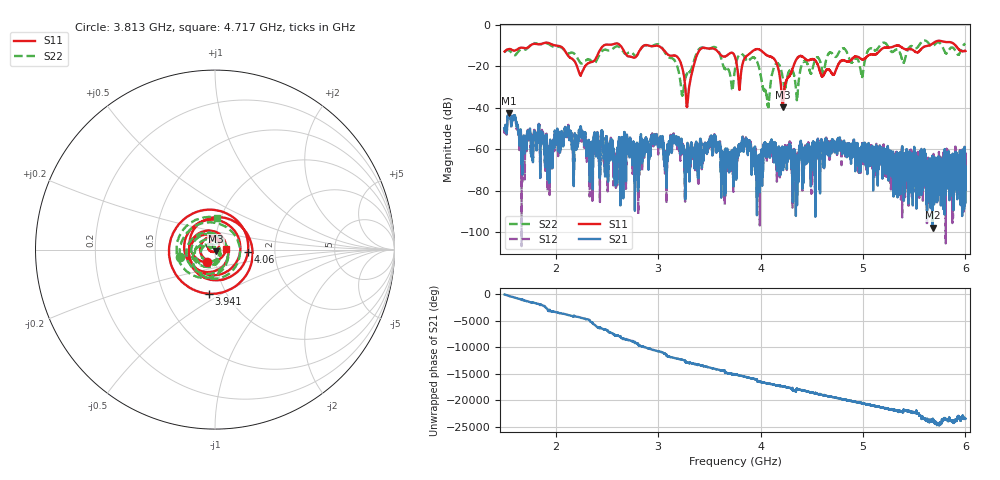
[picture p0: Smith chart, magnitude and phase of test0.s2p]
!Keysight Technologies N9923A: A.08.15
!Date: Monday, 19 February 2024 16:25:39
!Timezone: (GMT-05:00) Eastern Time (US & Canada)
!Model: N9923A
!Serial: MY52412730
!GPS Latitude:
!GPS Longitude:
!GPS TimeStamp: 0001-01-01 00:00:00Z
!GPS Seconds Since Last Read: 0
!CHECKSUM:1044931174
!Correction: S11(ON Q)S21(ON Q)S12(ON Q)S22(ON Q)
!S2P File: Measurements:S11,S21,S12,S22:
# Hz S DB R 50
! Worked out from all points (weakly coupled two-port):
!   10001 points, 1.5 GHz to 6 GHz, reference 50 ohm
!   highest |S21| = -42.74 dB at 1.545 GHz (marker M1); lowest = -97.9 dB at 5.679 GHz (marker M2)
!   lowest |S11| = -39.8 dB at 4.215 GHz (marker M3), VSWR 1.02, Z = 50.5 - j0.871 ohm
!   |S11| at or under -10 dB: start of sweep to 1.754 GHz; 1.994 GHz to 2.469 GHz (475.1 MHz wide, 21.3 % of centre); 2.901 GHz to 5.647 GHz (2.745 GHz wide, 64.2 % of centre) (the widest 3 of 8)
!   |S22| runs from -40.2 to -7.6 dB; largest |S21 - S12| = 0.0011
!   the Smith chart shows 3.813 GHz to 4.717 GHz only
!   S11 on the Smith chart (normalised r, x): 3.813 GHz: 0.90, -0.13; 3.941 GHz: 0.83, -0.43; 4.06 GHz: 1.45, -0.04; 4.717 GHz: 1.14, +0.01
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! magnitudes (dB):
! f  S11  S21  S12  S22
! 1.5 GHz  -12.9  -50.2  -51.4  -13.2
! 1.545 GHz  -11.8  -42.7  -42.9  -12.6
! 1.684 GHz  -11.2  -54.7  -55.7  -11.9
! 2.25 GHz  -23.5  -53.9  -54.0  -18.7
! 2.581 GHz  -9.1  -70.3  -65.4  -10.6
! 3 GHz  -10.2  -57.4  -62.2  -9.5
! 3.202 GHz  -16.5  -57.8  -56.9  -23.0
! 3.284 GHz  -39.1  -58.5  -58.4  -23.6
! 3.417 GHz  -11.6  -57.2  -58.1  -11.1
! 3.75 GHz  -15.5  -61.3  -63.0  -21.1
! 3.813 GHz  -21.5  -59.6  -60.3  -14.0
! 3.941 GHz  -12.1  -64.2  -60.5  -16.0
! 4.06 GHz  -14.7  -60.7  -61.9  -34.3
! 4.147 GHz  -17.6  -60.1  -61.4  -19.0
! 4.215 GHz  -39.8  -61.7  -68.4  -25.2
! 4.361 GHz  -15.9  -64.7  -66.0  -33.9
! 4.5 GHz  -16.6  -63.7  -66.9  -22.7
! 4.717 GHz  -23.9  -57.0  -56.9  -15.0
! 4.99 GHz  -16.7  -63.6  -62.0  -25.1
! 5.25 GHz  -11.0  -61.8  -67.4  -10.9
! 5.679 GHz  -9.1  -97.9  -66.1  -10.3
! 6 GHz  -12.6  -68.5  -60.9  -9.1
